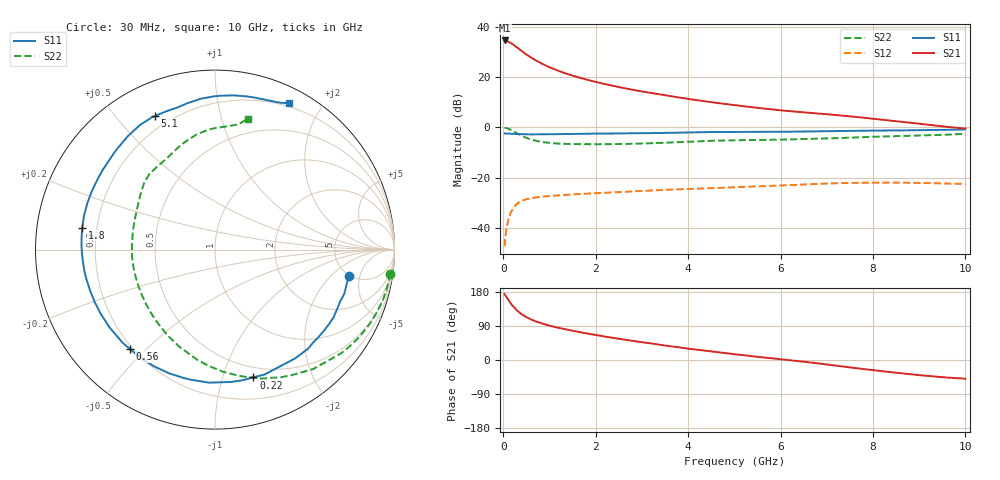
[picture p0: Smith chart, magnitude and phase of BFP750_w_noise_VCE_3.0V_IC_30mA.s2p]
! Infineon Technologies  Discrete & RF Semiconductors
! BFP750
! VCE =  3.0 V,  IC =  30 mA
! Common Emitter S-Parameters:  Jan 2016
# GHz  S  MA  R  50
!  f  S11  S21  S12  S22
! GHz  MAG  ANG  MAG  ANG  MAG  ANG  MAG  ANG
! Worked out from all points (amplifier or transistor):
!   229 points, 30 MHz to 10 GHz, reference 50 ohm
!   highest |S21| = 34.7 dB at 30 MHz (marker M1)
!   |S21| within 3 dB of that: start of sweep to 312.9 MHz
!   unconditionally stable (mu >= 1): 4.537 GHz to end of sweep
!   at 280 MHz: K = 0.13, MSG = 31.5 dB, |S12| = -30.8 dB
!   at 1.78 GHz: K = 0.60, MSG = 22.8 dB, |S12| = -26.4 dB
!   at 10 GHz: K = 1.07, MAG = 9.4 dB, |S12| = -22.5 dB
!   lowest NFmin = 0.84 dB at 450 MHz
!   S11 on the Smith chart (normalised r, x): 30 MHz: 4.88, -3.42; 220 MHz: 0.40, -1.27; 560 MHz: 0.19, -0.45; 1.8 GHz: 0.14, +0.08; 5.1 GHz: 0.14, +0.64; 10 GHz: 0.16, +1.61
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0.03  0.7606 -11.2  54.25 173.8  0.0043 83.4  0.9844 -7.8
0.05  0.7613 -18.8  54.21 169.5  0.007 80.5  0.9815 -13.3
0.08  0.7607 -30.0  53.2 164.1  0.0108 74.7  0.9661 -21.5
0.12  0.7531 -43.5  51.05 156.6  0.0157 69.5  0.9374 -31.8
0.15  0.753 -53.5  49.37 151.4  0.0189 64.5  0.9107 -39.2
0.2  0.7488 -68.3  45.97 143.4  0.0235 58.1  0.8617 -50.5
0.22  0.7434 -73.3  44.54 140.8  0.0249 55.6  0.8386 -54.5
0.3  0.7422 -92.5  39.24 130.5  0.0302 47.5  0.7642 -70.1
0.4  0.7354 -110.4  33.32 120.6  0.0343 39.8  0.683 -86.0
0.5  0.7324 -124.3  28.57 113.1  0.0371 34.4  0.6218 -99.2
0.56  0.7286 -130.7  26.27 109.6  0.0382 32.0  0.5922 -105.5
0.72  0.7293 -144.9  21.35 101.2  0.0405 27.1  0.539 -120.9
1  0.7324 -161.8  15.87 90.6  0.043 22.2  0.4919 -140.4
1.3  0.7389 -174.2  12.4 82.1  0.045 19.3  0.4721 -155.1
1.7  0.7479 173.2  9.544 72.5  0.0474 17.0  0.4644 -169.4
1.8  0.7497 170.6  9.002 70.2  0.0479 16.5  0.4638 -172.4
2.6  0.7604 152.3  6.106 54.1  0.0523 13.2  0.469 167.0
3.4  0.7763 137.2  4.53 40.1  0.0566 9.7  0.4918 151.7
5.1  0.816 114.2  2.719 14.0  0.0648 2.3  0.5577 130.1
6.8  0.838 97.4  1.899 -8.7  0.0749 -7.2  0.5969 111.6
8.4  0.8717 78.2  1.366 -32.3  0.0797 -21.0  0.6681 93.4
10  0.9134 63.3  0.948 -49.4  0.0749 -31.7  0.7509 76.0
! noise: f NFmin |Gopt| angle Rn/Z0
0.45  0.84  0.12  -165  0.43
0.9  0.86  0.17  -162  0.16
1.5  0.87  0.18  -161  0.13
1.9  0.88  0.22  -155  0.08
2.4  0.91  0.26  -148  0.08
3.5  1.14  0.3  -134  0.08
